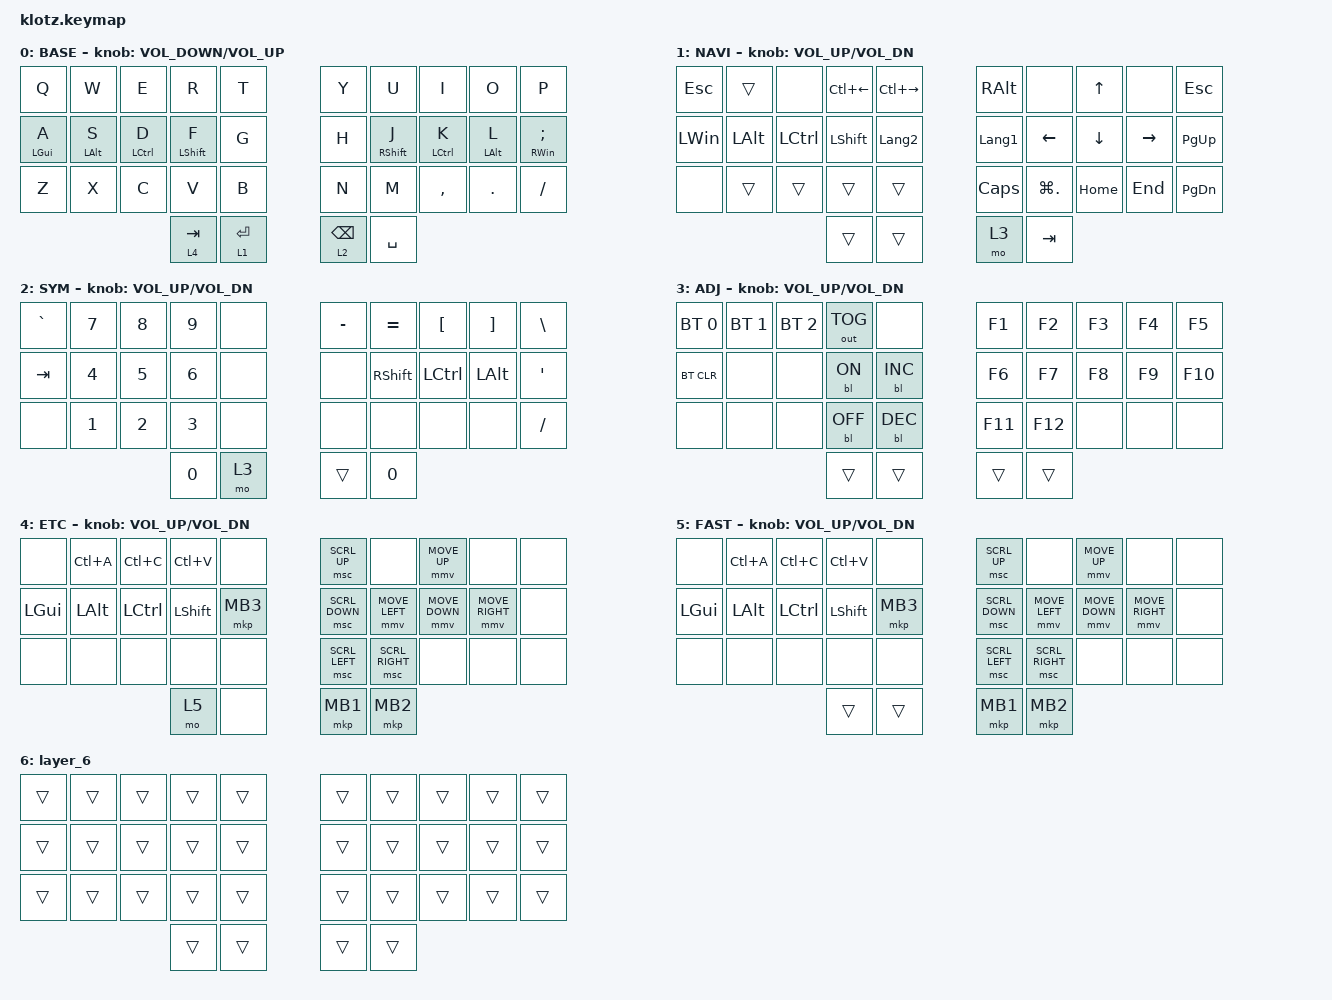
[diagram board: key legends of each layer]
//                                      █         ██        ▄▀▀▀▀▀▀▀▀▀▀█▀▀▀▀▀▀▀▀█▀▀▀▀▀▀▀▀▀▀█
//                                      █        █ █      ▄▀            ▀▄      █         █
//                                      █       █  █    ▄▀                ▀▄    █        █
//                                      █      █   █   █                    █   █       █
//                                      █     █    █   █                    █   █      █
//                                      █    █     █   █                    █   █  ▀▀▀█▀▀▀▀
//                                      █   █ █    █   █                    █   █    █
//                                      █  █   █   █   █                    █   █   █
//                                      █ █     █  █    ▀▄                ▄▀    █  █
//                                      ██       █ █      ▀▄            ▄▀      █ █
//                                      █         ██▄▄▄▄▄▄▄▄█▄▄▄▄▄▄▄▄▄▄▀        ██▄▄▄▄▄▄▄▄▄▄
//
// ▄▄▄▄▄▄▄▄▄▄▄▄▄▄▄▄▄▄▄▄▄▄▄▄▄▄▄▄▄▄▄▄▄▄▄▄▄▄▄▄▄▄▄▄▄▄▄▄▄▄▄▄▄▄▄▄▄▄▄▄▄▄▄▄▄▄▄▄▄▄▄▄▄▄▄▄▄▄▄▄▄▄▄▄▄▄▄▄▄▄▄▄▄▄▄▄▄▄▄▄▄▄▄▄▄▄▄▄▄▄▄▄▄▄▄▄▄▄▄▄▄▄▄▄▄

#include <dt-bindings/zmk/mouse.h>
#include <input/processors.dtsi>
#include <behaviors/mouse_keys.dtsi>
#include <behaviors.dtsi>
#include <dt-bindings/zmk/backlight.h>
#include <dt-bindings/zmk/bt.h>
#include <dt-bindings/zmk/keys.h>
#include <dt-bindings/zmk/outputs.h>
#include <dt-bindings/zmk/pointing.h>

#define BASE 0
#define NAV 1
#define SYM 2
#define ADJ 3
#define ETC 4
#define FAST 5

// --- Mouse Settings (기존 유지) ---

&mmv {
    acceleration-exponent = <1>;
    time-to-max-speed-ms = <500>;
    delay-ms = <0>;
};

&mmv_input_listener {
    compatible = "zmk,input-listener";
    device = <&mmv>;

    fast {
        layers = <FAST>;
        input-processors = <&zip_xy_scaler 3 1>;
    };
};

&msc {
    acceleration-exponent = <0>;
    time-to-max-speed-ms = <500>;
    delay-ms = <0>;
};

&mt {
    global-quick-tap;
    flavor = "tap-preferred";
    tapping-term-ms = <150>;
};

&lt {
    quick-tap-ms = <150>;
    tapping-term-ms = <150>;
};

/ {
    /* 1. LED 인디케이터 설정 추가 */

    led_indicators {
        compatible = "zmk,control-led-indicator";

        // BASE 레이어 (D3 LED)

        layer_base {
            led = <&led_d3>;
            usage = "layer-state";
            layers = <BASE>;
        };

        // NAV 레이어 (D4 LED)

        layer_nav {
            led = <&led_d4>;
            usage = "layer-state";
            layers = <NAV>;
        };

        // SYM 레이어 (D5 LED)

        layer_sym {
            led = <&led_d5>;
            usage = "layer-state";
            layers = <SYM>;
        };
    };

    combos {
        compatible = "zmk,combos";

        combo_esc {
            timeout-ms = <50>;
            key-positions = <0 1>;
            bindings = <&kp ESC>;
            layers = <0>;
        };

        tab {
            bindings = <&kp DEL>;
            key-positions = <30 31>;
            layers = <0>;
        };

        mouse {
            bindings = <&tog 4>;
            key-positions = <32 31 30 33>;
        };

        game {
            bindings = <&tog 6>;
            key-positions = <0 9 4 5>;
        };

        han-yung,capslock {
            bindings = <&tap_dance>;
            key-positions = <15 16>;
        };
    };

    behaviors {
        lt_mt: long_tap_mod_tap {
            compatible = "zmk,behavior-hold-tap";
            label = "LONG_TAP";
            #binding-cells = <2>;
            flavor = "tap-preferred";
            tapping-term-ms = <280>;
            bindings = <&kp>, <&kp>;

            quick-tap-ms = <175>;
            hold-trigger-key-positions = <19 32 16 17 18 26 27 28 33 5 6 7 8 9 15 16 17 18 19 25 26 27 28 29 32 33>;
            hold-trigger-on-release;
        };

        tap_dance: tap_dance {
            compatible = "zmk,behavior-tap-dance";
            label = "TAP_DANCE";
            #binding-cells = <0>;
            tapping-term-ms = <200>;
            bindings = <&kp LANG_HANGEUL>, <&kp CAPSLOCK>;
        };
    };

    keymap {
        compatible = "zmk,keymap";

        base_layer {
            label = "BASE";
            bindings = <
&kp Q          &kp W          &kp E           &kp R            &kp T      &kp Y            &kp U           &kp I                  &kp O              &kp P
&lt_mt LGUI A  &lt_mt LALT S  &lt_mt LCTRL D  &lt_mt LSHIFT F  &kp G      &kp H            &lt_mt RSHFT J  &lt_mt LEFT_CONTROL K  &lt_mt LEFT_ALT L  &lt_mt RIGHT_WIN SEMICOLON
&kp Z          &kp X          &kp C           &kp V            &kp B      &kp N            &kp M           &kp COMMA              &kp DOT            &kp FSLH
                                              &lt 4 TAB        &lt 1 RET  &lt 2 BACKSPACE  &kp SPACE
            >;

            sensor-bindings = <&inc_dec_kp C_VOLUME_DOWN C_VOLUME_UP>;
        };

        nav_layer {
            label = "NAVI";
            bindings = <
&kp ESC       &trans        &none             &kp LC(LEFT)    &kp LC(RIGHT)   &kp RIGHT_ALT   &none           &kp UP_ARROW  &none            &kp ESC
&kp LEFT_WIN  &kp LEFT_ALT  &kp LEFT_CONTROL  &kp LEFT_SHIFT  &kp LANGUAGE_2  &kp LANGUAGE_1  &kp LEFT_ARROW  &kp DOWN      &kp RIGHT_ARROW  &kp PG_UP
&none         &trans        &trans            &trans          &trans          &kp CAPS        &kp LG(DOT)     &kp HOME      &kp END          &kp PG_DN
                                              &trans          &trans          &mo 3           &kp TAB
            >;

            sensor-bindings = <&inc_dec_kp C_VOL_UP C_VOL_DN>;
        };

        sym_layer {
            label = "SYM";
            bindings = <
&kp GRAVE  &kp N7  &kp N8  &kp N9  &none  &kp MINUS  &kp EQUAL        &kp LEFT_BRACKET  &kp RIGHT_BRACKET  &kp BSLH
&kp TAB    &kp N4  &kp N5  &kp N6  &none  &none      &kp RIGHT_SHIFT  &kp LEFT_CONTROL  &kp LEFT_ALT       &kp APOS
&none      &kp N1  &kp N2  &kp N3  &none  &none      &none            &none             &none              &kp FSLH
                           &kp N0  &mo 3  &trans     &kp N0
            >;

            sensor-bindings = <&inc_dec_kp C_VOL_UP C_VOL_DN>;
        };

        adjust_layer {
            label = "ADJ";
            bindings = <
&bt BT_SEL 0  &bt BT_SEL 1  &bt BT_SEL 2  &out OUT_TOG  &none       &kp F1   &kp F2   &kp F3  &kp F4  &kp F5
&bt BT_CLR    &none         &none         &bl BL_ON     &bl BL_INC  &kp F6   &kp F7   &kp F8  &kp F9  &kp F10
&none         &none         &none         &bl BL_OFF    &bl BL_DEC  &kp F11  &kp F12  &none   &none   &none
                                          &trans        &trans      &trans   &trans
            >;

            sensor-bindings = <&inc_dec_kp C_VOL_UP C_VOL_DN>;
        };

        etc_layer {
            label = "ETC";
            bindings = <
&none         &kp LC(A)     &kp LC(C)         &kp LC(V)       &none     &msc SCRL_UP    &none            &mmv MOVE_UP    &none            &none
&kp LEFT_GUI  &kp LEFT_ALT  &kp LEFT_CONTROL  &kp LEFT_SHIFT  &mkp MB3  &msc SCRL_DOWN  &mmv MOVE_LEFT   &mmv MOVE_DOWN  &mmv MOVE_RIGHT  &none
&none         &none         &none             &none           &none     &msc SCRL_LEFT  &msc SCRL_RIGHT  &none           &none            &none
                                              &mo 5           &none     &mkp MB1        &mkp MB2
            >;

            sensor-bindings = <&inc_dec_kp C_VOL_UP C_VOL_DN>;
        };

        fast_layer {
            label = "FAST";
            bindings = <
&none         &kp LC(A)     &kp LC(C)         &kp LC(V)       &none     &msc SCRL_UP    &none            &mmv MOVE_UP    &none            &none
&kp LEFT_GUI  &kp LEFT_ALT  &kp LEFT_CONTROL  &kp LEFT_SHIFT  &mkp MB3  &msc SCRL_DOWN  &mmv MOVE_LEFT   &mmv MOVE_DOWN  &mmv MOVE_RIGHT  &none
&none         &none         &none             &none           &none     &msc SCRL_LEFT  &msc SCRL_RIGHT  &none           &none            &none
                                              &trans          &trans    &mkp MB1        &mkp MB2
            >;

            sensor-bindings = <&inc_dec_kp C_VOL_UP C_VOL_DN>;
        };

        layer_6 {
            bindings = <
&trans  &trans  &trans  &trans  &trans  &trans  &trans  &trans  &trans  &trans
&trans  &trans  &trans  &trans  &trans  &trans  &trans  &trans  &trans  &trans
&trans  &trans  &trans  &trans  &trans  &trans  &trans  &trans  &trans  &trans
                        &trans  &trans  &trans  &trans
            >;
        };
    };
};
